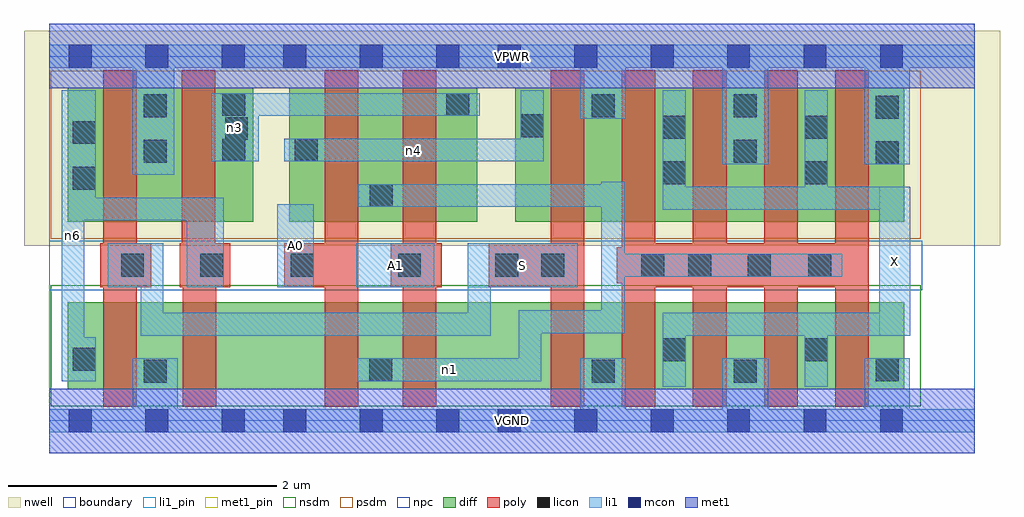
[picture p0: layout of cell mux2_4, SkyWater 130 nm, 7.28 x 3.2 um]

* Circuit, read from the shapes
.subckt mux2_4 A0 A1 S VGND VPWR X n1 n3 n4 n6
XM1 VGND S n6 VSUBS sky130_fd_pr__nfet_01v8 w=0.65 l=0.25
XM2 n2 n6 VGND VSUBS sky130_fd_pr__nfet_01v8 w=0.65 l=0.25
XM3 n1 A0 n2 VSUBS sky130_fd_pr__nfet_01v8 w=0.65 l=0.25
XM4 n5 A1 n1 VSUBS sky130_fd_pr__nfet_01v8 w=0.65 l=0.25
XM5 VGND S n5 VSUBS sky130_fd_pr__nfet_01v8 w=0.65 l=0.25
XM6 X n1 VGND VSUBS sky130_fd_pr__nfet_01v8 w=0.65 l=0.25 m=4
XM7 VPWR S n6 n7 sky130_fd_pr__pfet_01v8 w=1 l=0.25
XM8 n3 n6 VPWR n7 sky130_fd_pr__pfet_01v8 w=1 l=0.25
XM9 n1 A0 n4 n7 sky130_fd_pr__pfet_01v8 w=1 l=0.25
XM10 n3 A1 n1 n7 sky130_fd_pr__pfet_01v8 w=1 l=0.25
XM11 VPWR S n4 n7 sky130_fd_pr__pfet_01v8 w=1 l=0.25
XM12 X n1 VPWR n7 sky130_fd_pr__pfet_01v8 w=1 l=0.25 m=4
.ends

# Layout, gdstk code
import gdstk
lib = gdstk.Library(unit=1e-6, precision=1e-09)
def R(c, l, rs):  # rectangles x0, y0, x1, y1
    for r in rs: c.add(gdstk.rectangle(r[:2], r[2:], *l))
def A(c, l, x, y, w, h, nx, ny, dx, dy):  # array of equal rectangles
    R(c, l, [(x+i*dx, y+j*dy, x+i*dx+w, y+j*dy+h) for i in range(nx) for j in range(ny)])
nwell = (64, 20)
diff = (65, 20)
poly = (66, 20)
licon = (66, 44)
li1_pin = (67, 16)
li1 = (67, 20)
mcon = (67, 44)
met1_pin = (68, 16)
met1 = (68, 20)
nsdm = (93, 44)
psdm = (94, 20)
npc = (95, 20)
boundary = (235, 4)

mux2_4 = lib.new_cell('mux2_4')
R(mux2_4, nwell, [(-0.19,1.305,7.09,2.91), (0,1.305,6.9,2.91)])
R(mux2_4, diff, [(0.135,0.235,6.375,0.885), (0.135,1.485,1.52,2.485), (1.79,1.485,3.19,2.485), (3.475,1.485,6.375,2.485)])
A(mux2_4, poly, 3.74, 0.105, 0.25, 2.51, 5, 1, 0.53, 0)
R(mux2_4, poly, [(0.4,0.105,0.65,2.615), (0.995,0.105,1.245,1.325), (2.055,0.105,2.305,2.615), (2.635,0.105,2.885,2.615), (0.38,0.995,0.76,1.325), (0.97,0.995,1.35,1.325), (0.985,0.995,1.235,2.615), (1.75,0.995,2.305,1.325), (2.545,0.995,2.925,1.325), (3.275,0.995,3.99,1.325), (4.27,0.995,6.11,1.325), (4.23,1.025,6.11,1.295)])
R(mux2_4, licon, [(0.705,0.285,0.875,0.455), (4.045,0.285,4.215,0.455), (5.105,0.285,5.275,0.455), (2.385,0.295,2.555,0.465), (6.165,0.295,6.335,0.465), (0.175,0.375,0.345,0.545), (4.575,0.445,4.745,0.615), (5.635,0.445,5.805,0.615), (0.535,1.075,0.705,1.245), (1.125,1.075,1.295,1.245), (1.8,1.075,1.97,1.245), (2.6,1.075,2.77,1.245), (3.325,1.075,3.495,1.245), (3.67,1.075,3.84,1.245), (4.415,1.075,4.585,1.245), (4.765,1.075,4.935,1.245), (5.21,1.075,5.38,1.245), (5.66,1.075,5.83,1.245), (2.39,1.595,2.56,1.765), (0.175,1.725,0.345,1.895), (4.575,1.765,4.745,1.935), (5.635,1.765,5.805,1.935), (6.165,1.915,6.335,2.085), (0.705,1.925,0.875,2.095), (5.105,1.925,5.275,2.095), (1.29,1.935,1.46,2.105), (1.83,1.935,2,2.105), (0.175,2.065,0.345,2.235), (1.31,2.095,1.48,2.265), (4.575,2.105,4.745,2.275), (5.635,2.105,5.805,2.275), (3.515,2.115,3.685,2.285), (6.165,2.255,6.335,2.425), (0.705,2.265,0.875,2.435), (4.045,2.265,4.215,2.435), (5.105,2.265,5.275,2.435), (1.29,2.275,1.46,2.445), (2.96,2.275,3.13,2.445)])
R(mux2_4, li1_pin, [(6.19,0.635,6.42,1.745), (1.7,0.995,1.97,1.615), (2.29,0.995,2.87,1.325), (3.12,0.995,3.94,1.325)])
R(mux2_4, li1, [(0,-0.085,6.9,0.085), (0.62,-0.085,0.955,0.465), (3.96,-0.085,4.3,0.465), (5.02,-0.085,5.36,0.465), (6.08,-0.085,6.415,0.465), (4.575,0.255,4.745,0.805), (5.635,0.255,5.805,0.805), (0.09,0.295,0.26,2.465), (0.09,0.295,0.345,0.625), (2.3,0.295,3.67,0.465), (3.5,0.295,3.67,0.825), (0.68,0.635,3.29,0.805), (0.68,0.635,0.85,1.325), (3.12,0.635,3.29,1.325), (4.575,0.635,6.42,0.805), (6.19,0.635,6.42,1.745), (3.5,0.655,4.29,0.825), (4.115,0.655,4.29,1.785), (0.435,0.995,0.85,1.325), (1.025,0.995,1.3,1.665), (1.7,0.995,1.97,1.615), (2.29,0.995,2.87,1.325), (3.12,0.995,3.94,1.325), (4.115,1.075,5.915,1.245), (0.09,1.495,1.3,1.665), (0.09,1.495,0.345,2.465), (4.575,1.575,6.42,1.745), (4.575,1.575,4.745,2.465), (5.635,1.575,5.805,2.465), (2.305,1.595,4.29,1.765), (0.62,1.835,0.93,2.805), (5.02,1.915,5.36,2.805), (6.08,1.915,6.415,2.805), (1.205,1.935,1.56,2.445), (1.75,1.935,3.685,2.105), (3.515,1.935,3.685,2.465), (3.96,2.255,4.3,2.805), (1.205,2.275,3.21,2.445), (0,2.635,6.9,2.805)])
A(mux2_4, mcon, 0.145, -0.085, 0.17, 0.17, 3, 2, 0.57, 2.72)
A(mux2_4, mcon, 1.745, -0.085, 0.17, 0.17, 3, 2, 0.57, 2.72)
A(mux2_4, mcon, 3.345, -0.085, 0.17, 0.17, 6, 2, 0.57, 2.72)
R(mux2_4, met1_pin, [(0,-0.24,6.9,0.24), (0,2.48,6.9,2.96)])
R(mux2_4, met1, [(0,-0.24,6.9,0.24), (0,2.48,6.9,2.96)])
R(mux2_4, nsdm, [(0.01,0.11,6.5,1.01)])
R(mux2_4, psdm, [(0.01,1.36,6.5,2.61)])
R(mux2_4, npc, [(0,0.975,6.51,1.345)])
R(mux2_4, boundary, [(0,0,6.9,2.72)])
mux2_4.add(gdstk.Label('A0', (1.835,1.305), layer=67, texttype=5))
mux2_4.add(gdstk.Label('A1', (2.58,1.16), layer=67, texttype=5))
mux2_4.add(gdstk.Label('S', (3.53,1.16), layer=67, texttype=5))
mux2_4.add(gdstk.Label('X', (6.305,1.19), layer=67, texttype=5))
mux2_4.add(gdstk.Label('n1', (2.985,0.38), layer=67, texttype=5))
mux2_4.add(gdstk.Label('n3', (1.382,2.19), layer=67, texttype=5))
mux2_4.add(gdstk.Label('n6', (0.175,1.38), layer=67, texttype=5))
mux2_4.add(gdstk.Label('n4', (2.717,2.02), layer=67, texttype=5))
mux2_4.add(gdstk.Label('VPWR', (3.45,2.72), layer=68, texttype=5))
mux2_4.add(gdstk.Label('VGND', (3.45,0), layer=68, texttype=5))
mux2_4.add(gdstk.Label('A0', (1.835,1.305), layer=67, texttype=16))
mux2_4.add(gdstk.Label('A1', (2.58,1.16), layer=67, texttype=16))
mux2_4.add(gdstk.Label('S', (3.53,1.16), layer=67, texttype=16))
mux2_4.add(gdstk.Label('X', (6.305,1.19), layer=67, texttype=16))
mux2_4.add(gdstk.Label('VPWR', (3.45,2.72), layer=68, texttype=16))
mux2_4.add(gdstk.Label('VGND', (3.45,0), layer=68, texttype=16))

lib.write_gds('mux2_4.gds')
